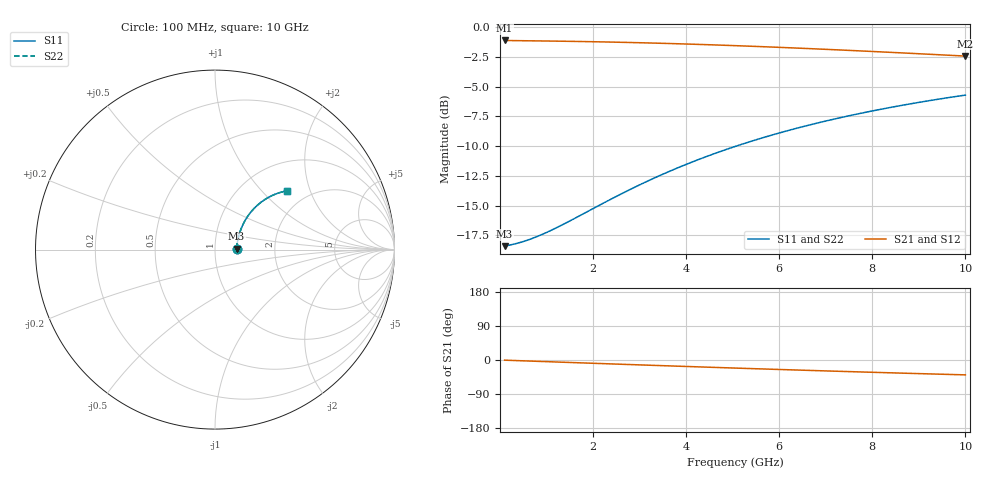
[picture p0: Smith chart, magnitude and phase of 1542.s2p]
# Hz S RI R 50.00
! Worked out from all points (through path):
!   100 points, 100 MHz to 10 GHz, reference 50 ohm
!   highest |S21| = -1.11 dB at 100 MHz (marker M1); lowest = -2.4 dB at 10 GHz (marker M2)
!   group delay of S21, straight-line fit = 10.9 ps
!   lowest |S11| = -18.4 dB at 100 MHz (marker M3), VSWR 1.27, Z = 63.6 + j0.673 ohm
!   |S11| at or under -10 dB: start of sweep to 5.074 GHz
!   |S22| runs from -18.4 to -5.7 dB; largest |S21 - S12| = 0
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1e8  0.1199 0.00521  0.8801 -0.0067  0.8801 -0.0067  0.1199 0.00521
3e8  0.1214 0.0156  0.8786 -0.0201  0.8786 -0.0201  0.1214 0.0156
5e8  0.1228 0.0259  0.8772 -0.0333  0.8772 -0.0333  0.1228 0.0259
8e8  0.1251 0.0413  0.8748 -0.0532  0.8748 -0.0532  0.1251 0.0413
1e9  0.127 0.0515  0.8729 -0.0663  0.8729 -0.0663  0.127 0.0515
1.2e9  0.129 0.0616  0.8708 -0.0794  0.8708 -0.0794  0.129 0.0616
1.8e9  0.1369 0.0913  0.8627 -0.1181  0.8627 -0.1181  0.1369 0.0913
2.3e9  0.1452 0.1153  0.8541 -0.1495  0.8541 -0.1495  0.1452 0.1153
2.7e9  0.1531 0.1339  0.846 -0.1741  0.846 -0.1741  0.1531 0.1339
3.1e9  0.1619 0.1518  0.8369 -0.198  0.8369 -0.198  0.1619 0.1518
3.4e9  0.1691 0.1648  0.8295 -0.2155  0.8295 -0.2155  0.1691 0.1648
3.8e9  0.1795 0.1815  0.8187 -0.2382  0.8187 -0.2382  0.1795 0.1815
4.2e9  0.1908 0.1974  0.8071 -0.2601  0.8071 -0.2601  0.1908 0.1974
4.6e9  0.2028 0.2125  0.7947 -0.2811  0.7947 -0.2811  0.2028 0.2125
5.1e9  0.2187 0.2301  0.7782 -0.3063  0.7782 -0.3063  0.2187 0.2301
5.5e9  0.2321 0.2432  0.7643 -0.3254  0.7643 -0.3254  0.2321 0.2432
5.9e9  0.246 0.2554  0.7498 -0.3436  0.7498 -0.3436  0.246 0.2554
6.7e9  0.275 0.2769  0.7196 -0.3772  0.7196 -0.3772  0.275 0.2769
7.5e9  0.3053 0.2947  0.688 -0.4072  0.688 -0.4072  0.3053 0.2947
8.4e9  0.34 0.3103  0.6515 -0.4366  0.6515 -0.4366  0.34 0.3103
9.2e9  0.3711 0.3206  0.6187 -0.4592  0.6187 -0.4592  0.3711 0.3206
1e10  0.4019 0.3275  0.5859 -0.4785  0.5859 -0.4785  0.4019 0.3275
